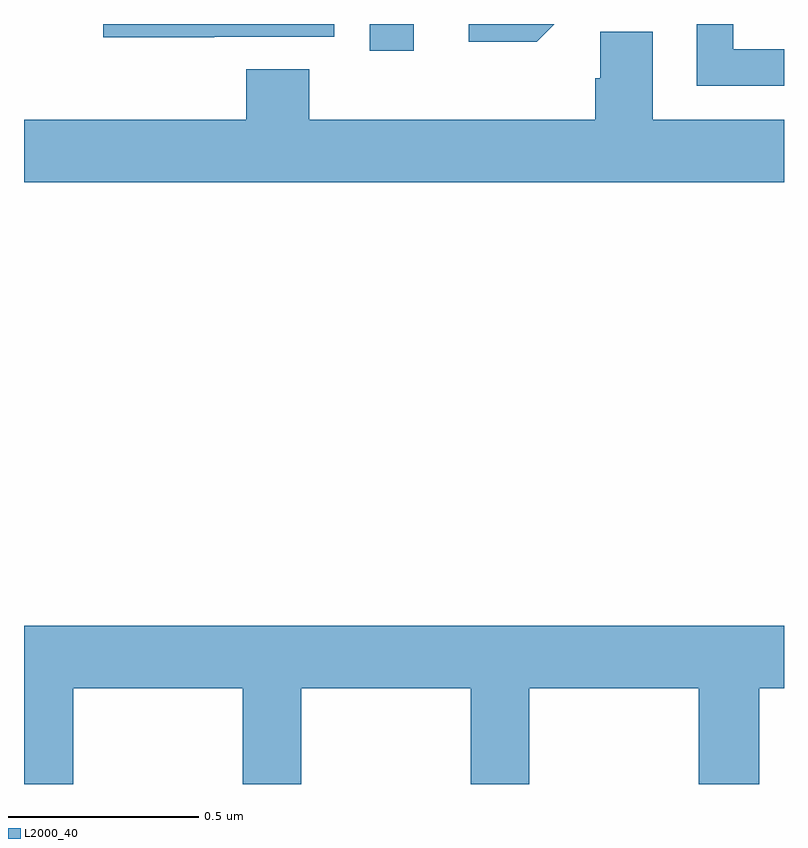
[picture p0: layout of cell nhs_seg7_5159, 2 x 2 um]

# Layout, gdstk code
import gdstk
lib = gdstk.Library(unit=1e-6, precision=1e-09)
def R(c, l, rs):  # rectangles x0, y0, x1, y1
    for r in rs: c.add(gdstk.rectangle(r[:2], r[2:], *l))
def P(c, l, *ps):  # polygons
    for p in ps: c.add(gdstk.Polygon(p, *l))
L2000_40 = (2000, 40)

nhs_seg7_5159 = lib.new_cell('nhs_seg7_5159')
R(nhs_seg7_5159, L2000_40, [(182.91,1032.93,183.025,1033)])
P(nhs_seg7_5159, L2000_40, [(183.396,1033),(183.171,1033),(183.171,1032.953),(183.349,1032.953)],
  [(184,1032.933),(183.867,1032.933),(183.867,1033),(183.771,1033),(183.771,1032.837),(184,1032.837)],
  [(182.501,1032.966),(182.817,1032.966),(182.817,1033),(182.209,1033),(182.209,1032.965),(182.501,1032.965)],
  [(184,1032.748),(183.655,1032.748),(183.655,1032.98),(183.516,1032.98),(183.516,1032.857),(183.503,1032.857),(183.503,1032.748),(182.75,1032.748),(182.75,1032.881),(182.585,1032.881),(182.585,1032.748),(182,1032.748),(182,1032.584),(184,1032.584)],
  [(182.13,1031.252),(182.575,1031.252),(182.575,1031),(182.73,1031),(182.73,1031.252),(183.175,1031.252),(183.175,1031),(183.33,1031),(183.33,1031.252),(183.775,1031.252),(183.775,1031),(183.935,1031),(183.935,1031.252),(184,1031.252),(184,1031.416),(182,1031.416),(182,1031),(182.13,1031)])

lib.write_gds('nhs_seg7_5159.gds')
